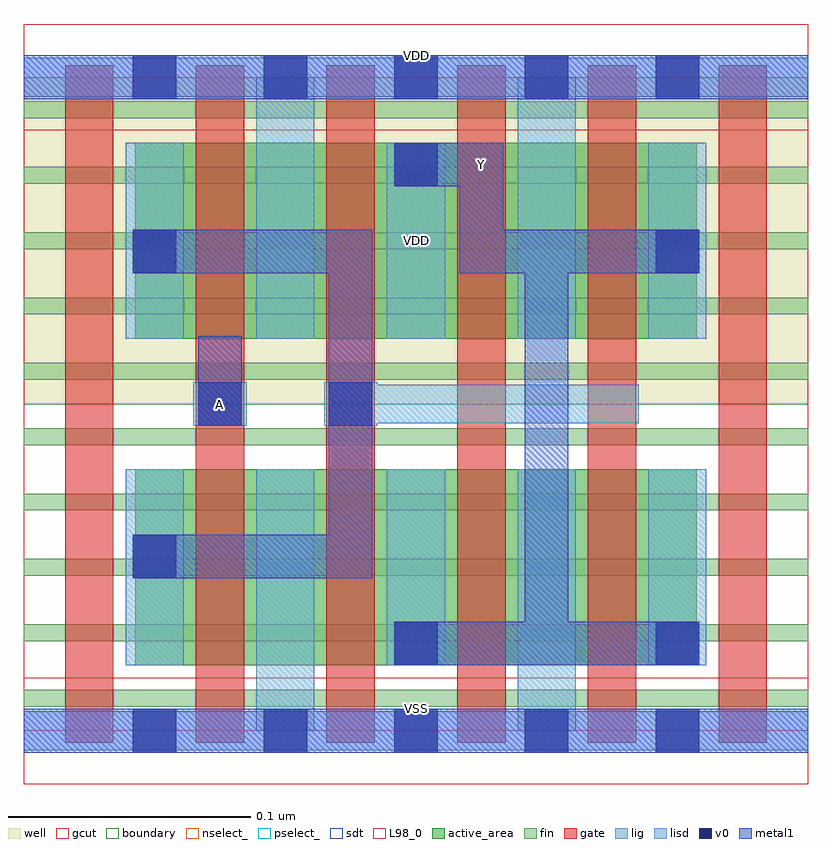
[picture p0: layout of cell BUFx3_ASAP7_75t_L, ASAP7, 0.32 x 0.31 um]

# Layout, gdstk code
import gdstk
lib = gdstk.Library(unit=1e-6, precision=2.5e-10)
def R(c, l, rs):  # rectangles x0, y0, x1, y1
    for r in rs: c.add(gdstk.rectangle(r[:2], r[2:], *l))
def A(c, l, x, y, w, h, nx, ny, dx, dy):  # array of equal rectangles
    R(c, l, [(x+i*dx, y+j*dy, x+i*dx+w, y+j*dy+h) for i in range(nx) for j in range(ny)])
def P(c, l, *ps):  # polygons
    for p in ps: c.add(gdstk.Polygon(p, *l))
well = (1, 0)
fin = (2, 0)
gate = (7, 0)
gcut = (10, 0)
active_area = (11, 0)
nselect_ = (12, 0)
pselect_ = (13, 0)
lig = (16, 0)
lisd = (17, 0)
v0 = (18, 0)
metal1 = (19, 0)
sdt = (88, 0)
L98_0 = (98, 0)
boundary = (100, 0)

bufx3_asap7_75t_l = lib.new_cell('BUFx3_ASAP7_75t_L')
R(bufx3_asap7_75t_l, well, [(0,0.135,0.324,0.27)])
A(bufx3_asap7_75t_l, fin, 0, 0.01, 0.324, 0.007, 1, 10, 0, 0.027)
A(bufx3_asap7_75t_l, gate, 0.017, -0.005, 0.02, 0.28, 6, 1, 0.054, 0)
R(bufx3_asap7_75t_l, gcut, [(0,-0.022,0.324,0.022), (0,0.248,0.324,0.292)])
R(bufx3_asap7_75t_l, active_area, [(0.046,0.027,0.278,0.108), (0.046,0.162,0.278,0.243)])
R(bufx3_asap7_75t_l, nselect_, [(0,0,0.324,0.135)])
R(bufx3_asap7_75t_l, pselect_, [(0,0.135,0.324,0.27)])
R(bufx3_asap7_75t_l, lig, [(0,-0.008,0.324,0.008), (0.07,0.126,0.092,0.144), (0.124,0.126,0.146,0.144), (0.124,0.127,0.254,0.143), (0,0.262,0.324,0.278)])
A(bufx3_asap7_75t_l, lisd, 0.042, 0.027, 0.024, 0.081, 3, 2, 0.108, 0.135)
R(bufx3_asap7_75t_l, lisd, [(0.096,0,0.12,0.108), (0.096,0,0.12,0.108), (0.204,0,0.228,0.108), (0.204,0,0.228,0.108), (0.096,0.162,0.12,0.27), (0.096,0.162,0.12,0.27), (0.204,0.162,0.228,0.27), (0.204,0.162,0.228,0.27)])
A(bufx3_asap7_75t_l, v0, 0.045, -0.009, 0.018, 0.018, 5, 2, 0.054, 0.27)
R(bufx3_asap7_75t_l, v0, [(0.153,0.027,0.171,0.045), (0.261,0.027,0.279,0.045), (0.045,0.063,0.063,0.081), (0.072,0.126,0.09,0.144), (0.126,0.126,0.144,0.144), (0.045,0.189,0.063,0.207), (0.261,0.189,0.279,0.207), (0.153,0.225,0.171,0.243)])
R(bufx3_asap7_75t_l, metal1, [(0,-0.009,0.324,0.009), (0.153,0.027,0.171,0.045), (0.261,0.027,0.279,0.045), (0.045,0.063,0.063,0.081), (0.072,0.126,0.09,0.144), (0.072,0.126,0.09,0.163), (0.126,0.126,0.144,0.144), (0.045,0.189,0.063,0.207), (0.261,0.189,0.279,0.207), (0.153,0.225,0.171,0.243), (0,0.261,0.324,0.279)])
P(bufx3_asap7_75t_l, metal1, [(0.045,0.207),(0.045,0.189),(0.126,0.189),(0.126,0.081),(0.045,0.081),(0.045,0.063),(0.144,0.063),(0.144,0.207)],
  [(0.279,0.207),(0.198,0.207),(0.198,0.243),(0.153,0.243),(0.153,0.225),(0.18,0.225),(0.18,0.189),(0.207,0.189),(0.207,0.045),(0.153,0.045),(0.153,0.027),(0.279,0.027),(0.279,0.045),(0.225,0.045),(0.225,0.189),(0.279,0.189)])
A(bufx3_asap7_75t_l, sdt, 0.096, 0.027, 0.024, 0.081, 3, 2, 0.054, 0.135)
R(bufx3_asap7_75t_l, sdt, [(0.042,0.027,0.066,0.108), (0.096,0.027,0.12,0.108), (0.204,0.027,0.228,0.108), (0.258,0.027,0.282,0.108), (0.042,0.162,0.066,0.243), (0.096,0.162,0.12,0.243), (0.204,0.162,0.228,0.243), (0.258,0.162,0.282,0.243)])
R(bufx3_asap7_75t_l, L98_0, [(0,0,0.324,0.27)])
R(bufx3_asap7_75t_l, boundary, [(0,0,0.324,0.27)])
bufx3_asap7_75t_l.add(gdstk.Label('VDD', (0.162,0.2025), layer=1, texttype=251))
bufx3_asap7_75t_l.add(gdstk.Label('VSS', (0.162,-0.0675), layer=3, texttype=251))
bufx3_asap7_75t_l.add(gdstk.Label('VSS', (0.162,0.009), layer=19, texttype=251))
bufx3_asap7_75t_l.add(gdstk.Label('VDD', (0.162,0.279), layer=19, texttype=251))
bufx3_asap7_75t_l.add(gdstk.Label('A', (0.081,0.135), layer=19, texttype=251))
bufx3_asap7_75t_l.add(gdstk.Label('Y', (0.189,0.234), layer=19, texttype=251))

lib.write_gds('BUFx3_ASAP7_75t_L.gds')
